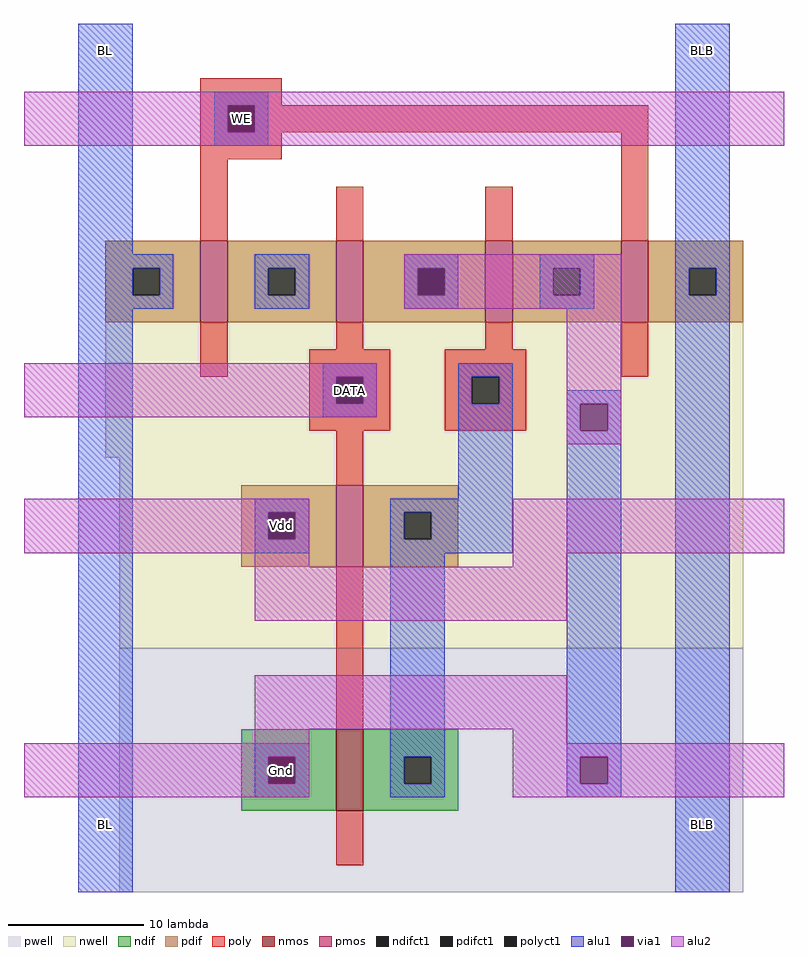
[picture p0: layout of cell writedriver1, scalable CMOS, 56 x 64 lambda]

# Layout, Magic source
magic
tech scmos
<< nwell >>
rect -25 3 22 19
rect -24 -11 22 3
<< pwell >>
rect -24 -29 22 -11
<< poly >>
rect -18 29 -12 31
rect -18 27 -16 29
rect -14 27 15 29
rect -18 25 -12 27
rect -18 19 -16 25
rect -8 19 -6 23
rect 3 19 5 23
rect 13 19 15 27
rect -18 9 -16 13
rect -8 11 -6 13
rect 3 11 5 13
rect -10 9 -4 11
rect -10 7 -8 9
rect -6 7 -4 9
rect -10 5 -4 7
rect 0 9 6 11
rect 13 9 15 13
rect 0 7 2 9
rect 4 7 6 9
rect 0 5 6 7
rect -8 1 -6 5
rect -8 -17 -6 -5
rect -8 -27 -6 -23
<< ndif >>
rect -15 -19 -8 -17
rect -15 -21 -13 -19
rect -11 -21 -8 -19
rect -15 -23 -8 -21
rect -6 -19 1 -17
rect -6 -21 -3 -19
rect -1 -21 1 -19
rect -6 -23 1 -21
<< pdif >>
rect -25 17 -18 19
rect -25 15 -23 17
rect -21 15 -18 17
rect -25 13 -18 15
rect -16 17 -8 19
rect -16 15 -13 17
rect -11 15 -8 17
rect -16 13 -8 15
rect -6 17 3 19
rect -6 15 -2 17
rect 0 15 3 17
rect -6 13 3 15
rect 5 17 13 19
rect 5 15 8 17
rect 10 15 13 17
rect 5 13 13 15
rect 15 17 22 19
rect 15 15 18 17
rect 20 15 22 17
rect 15 13 22 15
rect -15 -1 -8 1
rect -15 -3 -13 -1
rect -11 -3 -8 -1
rect -15 -5 -8 -3
rect -6 -1 1 1
rect -6 -3 -3 -1
rect -1 -3 1 -1
rect -6 -5 1 -3
<< alu1 >>
rect -27 18 -23 35
rect -17 29 -13 30
rect -17 27 -16 29
rect -14 27 -13 29
rect -17 26 -13 27
rect -27 17 -20 18
rect -27 15 -23 17
rect -21 15 -20 17
rect -27 14 -20 15
rect -14 17 -10 18
rect -14 15 -13 17
rect -11 15 -10 17
rect -14 14 -10 15
rect -3 17 1 18
rect -3 15 -2 17
rect 0 15 1 17
rect -3 14 1 15
rect 7 17 11 18
rect 7 15 8 17
rect 10 15 11 17
rect 7 14 11 15
rect 17 17 21 35
rect 17 15 18 17
rect 20 15 21 17
rect -27 -29 -23 14
rect -9 9 -5 10
rect -9 7 -8 9
rect -6 7 -5 9
rect -9 6 -5 7
rect 1 9 5 10
rect 1 7 2 9
rect 4 7 5 9
rect 1 0 5 7
rect -14 -1 -10 0
rect -14 -3 -13 -1
rect -11 -3 -10 -1
rect -14 -4 -10 -3
rect -4 -1 5 0
rect -4 -3 -3 -1
rect -1 -3 5 -1
rect -4 -4 5 -3
rect 9 7 13 8
rect 9 5 10 7
rect 12 5 13 7
rect -14 -19 -10 -18
rect -14 -21 -13 -19
rect -11 -21 -10 -19
rect -14 -22 -10 -21
rect -4 -19 0 -4
rect -4 -21 -3 -19
rect -1 -21 0 -19
rect -4 -22 0 -21
rect 9 -19 13 5
rect 9 -21 10 -19
rect 12 -21 13 -19
rect 9 -22 13 -21
rect 17 -29 21 15
<< alu2 >>
rect -31 29 25 30
rect -31 27 -16 29
rect -14 27 25 29
rect -31 26 25 27
rect -3 17 13 18
rect -3 15 -2 17
rect 0 15 13 17
rect -3 14 13 15
rect -31 9 -5 10
rect -31 7 -8 9
rect -6 7 -5 9
rect -31 6 -5 7
rect 9 7 13 14
rect 9 5 10 7
rect 12 5 13 7
rect 9 4 13 5
rect -31 -1 -10 0
rect -31 -3 -13 -1
rect -11 -3 -10 -1
rect -31 -4 -10 -3
rect -14 -5 -10 -4
rect 5 -4 25 0
rect 5 -5 9 -4
rect -14 -9 9 -5
rect -14 -17 9 -13
rect -14 -18 -10 -17
rect -31 -19 -10 -18
rect -31 -21 -13 -19
rect -11 -21 -10 -19
rect -31 -22 -10 -21
rect 5 -18 9 -17
rect 5 -19 25 -18
rect 5 -21 10 -19
rect 12 -21 25 -19
rect 5 -22 25 -21
<< nmos >>
rect -8 -23 -6 -17
<< pmos >>
rect -18 13 -16 19
rect -8 13 -6 19
rect 3 13 5 19
rect 13 13 15 19
rect -8 -5 -6 1
<< polyct1 >>
rect -16 27 -14 29
rect -8 7 -6 9
rect 2 7 4 9
<< ndifct1 >>
rect -13 -21 -11 -19
rect -3 -21 -1 -19
<< pdifct1 >>
rect -23 15 -21 17
rect -13 15 -11 17
rect -2 15 0 17
rect 8 15 10 17
rect 18 15 20 17
rect -13 -3 -11 -1
rect -3 -3 -1 -1
<< via1 >>
rect -16 27 -14 29
rect -2 15 0 17
rect -8 7 -6 9
rect -13 -3 -11 -1
rect 10 5 12 7
rect -13 -21 -11 -19
rect 10 -21 12 -19
<< labels >>
rlabel via1 -12 -2 -12 -2 1 Vdd
rlabel via1 -12 -20 -12 -20 1 Gnd
rlabel via1 -15 28 -15 28 1 WE
rlabel alu1 -25 33 -25 33 5 BL
rlabel alu1 19 33 19 33 5 BLB
rlabel alu1 -25 -24 -25 -24 1 BL
rlabel alu1 19 -24 19 -24 1 BLB
rlabel via1 -7 8 -7 8 1 DATA
<< end >>
